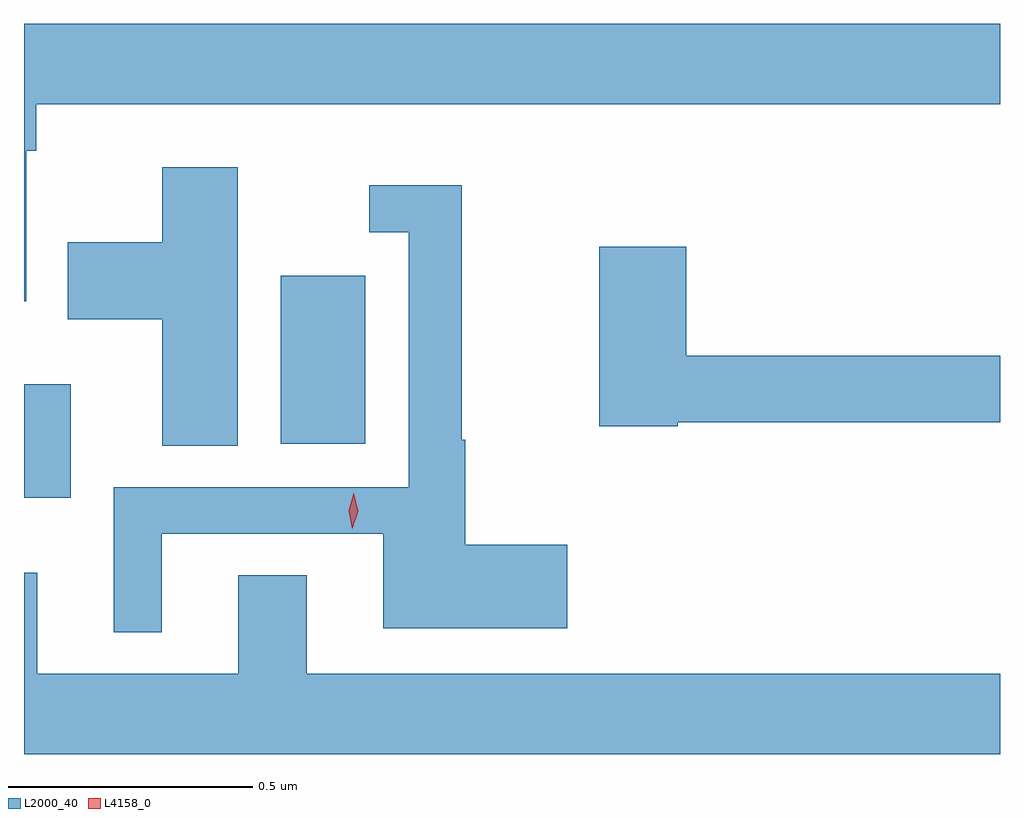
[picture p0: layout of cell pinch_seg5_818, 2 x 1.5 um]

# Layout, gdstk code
import gdstk
lib = gdstk.Library(unit=1e-6, precision=1e-09)
def R(c, l, rs):  # rectangles x0, y0, x1, y1
    for r in rs: c.add(gdstk.rectangle(r[:2], r[2:], *l))
def P(c, l, *ps):  # polygons
    for p in ps: c.add(gdstk.Polygon(p, *l))
L2000_40 = (2000, 40)
L4158_0 = (4158, 0)

pinch_seg5_818 = lib.new_cell('pinch_seg5_818')
R(pinch_seg5_818, L2000_40, [(780.208,897.245,780.304,897.478), (780.734,897.356,780.907,897.7)])
P(pinch_seg5_818, L2000_40, [(780.213,897.956),(780.233,897.956),(780.233,898.052),(782.208,898.052),(782.208,898.216),(780.208,898.216),(780.208,897.648),(780.213,897.648)],
  [(780.646,897.922),(780.491,897.922),(780.491,897.769),(780.298,897.769),(780.298,897.611),(780.491,897.611),(780.491,897.352),(780.646,897.352)],
  [(780.49,897.171),(780.944,897.171),(780.944,896.978),(781.321,896.978),(781.321,897.149),(781.112,897.149),(781.112,897.364),(781.105,897.364),(781.105,897.886),(780.915,897.886),(780.915,897.789),(780.996,897.789),(780.996,897.267),(780.392,897.267),(780.392,896.97),(780.49,896.97)],
  [(781.548,897.4),(782.208,897.4),(782.208,897.536),(781.565,897.536),(781.565,897.76),(781.387,897.76),(781.387,897.392),(781.548,897.392)],
  [(782.208,896.884),(780.787,896.884),(780.787,897.086),(780.647,897.086),(780.647,896.884),(780.235,896.884),(780.235,897.091),(780.208,897.091),(780.208,896.72),(782.208,896.72)])
P(pinch_seg5_818, L4158_0, [(780.881,897.182),(780.881,897.182),(780.873,897.219),(780.884,897.254),(780.884,897.255),(780.884,897.254),(780.893,897.218),(780.881,897.182)])

lib.write_gds('pinch_seg5_818.gds')
